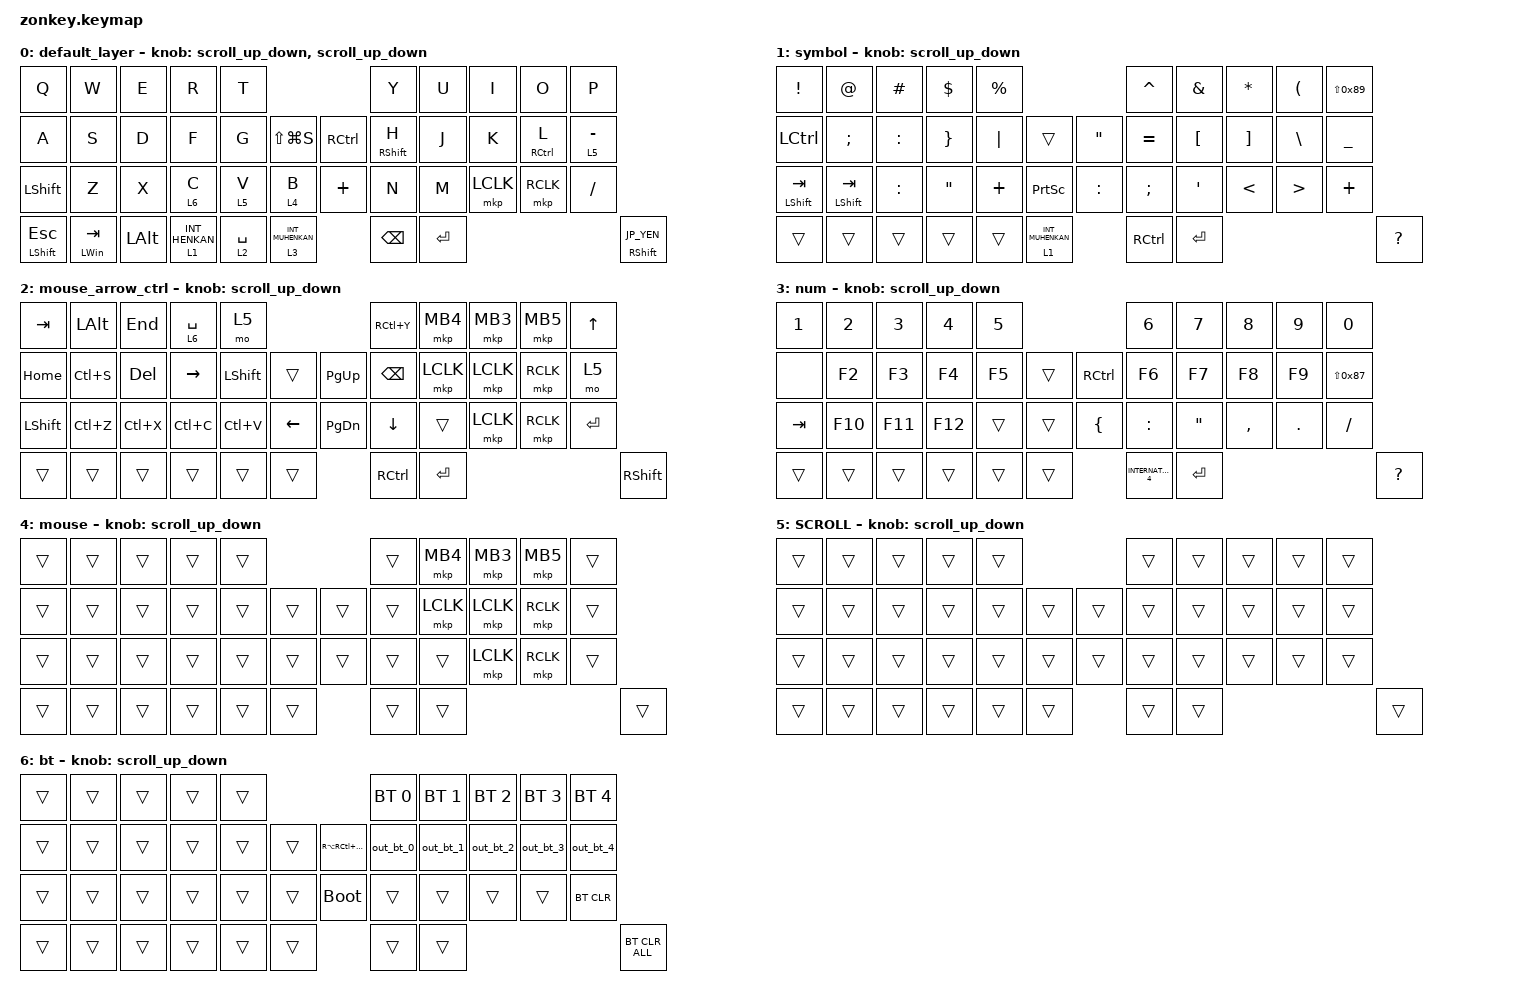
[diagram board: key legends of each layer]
#include <behaviors.dtsi>
#include <dt-bindings/zmk/bt.h>
#include <dt-bindings/zmk/keys.h>
#include <dt-bindings/zmk/outputs.h>
#include <dt-bindings/zmk/pointing.h>

#define ZMK_POINTING_DEFAULT_SCRL_VAL 100

//#define MOUSE 6

#define JP_DQUOTE       AT                // "
#define JP_AMPERSAND    CARET             // &
#define JP_QUOTE        AMPERSAND         // '
#define JP_EQUAL        UNDER             // =
#define JP_CARET        EQUAL             // ^
#define JP_YEN          0x89              // ¥
#define JP_PLUS         COLON             // +
#define JP_TILDE        PLUS              // ~
#define JP_PIPE         LS(0x89)          // |
#define JP_AT           LEFT_BRACKET      // @
#define JP_COLON        SINGLE_QUOTE      // :
#define JP_ASTERISK     DOUBLE_QUOTES     // *
#define JP_BACKQUOTE    LEFT_BRACE        // `
#define JP_UNDERSCORE   LS(0x87)          // _
#define JP_LBRACKET     RIGHT_BRACKET     // [
#define JP_RBRACKET     BACKSLASH         // ]
#define JP_LPAREN       ASTERISK          // (
#define JP_RPAREN       LEFT_PARENTHESIS  // )
#define JP_LBRACE       RIGHT_BRACE       // {
#define JP_RBRACE       PIPE              // }
#define JP_KANA         LANGUAGE_1        // かな
#define JP_EISU         LANGUAGE_2        // 英数
#define JP_HANZEN       GRAVE             // 半角/全角
#define JP_BSLH  INT1         // (backslash)

// レイヤーの定義

#define DEFAULT 0
#define SYMBOL	1
#define MOUSE_CTRL	2
#define NUM_FUNCTION	3
#define MOUSE	4
#define SCROLL	5
#define MODIFIER_BT	6

&mt {
    flavor = "balanced";
    quick-tap-ms = <0>;
};

/ {
    combos {
        compatible = "zmk,combos";

        tab {
            bindings = <&kp TAB>;
            key-positions = <11 12>;
        };

        shift_tab {
            bindings = <&kp LS(TAB)>;
            key-positions = <12 13>;
        };

        mb4 {
            bindings = <&mkp MB4>;
            key-positions = <6 7>;
        };

        mb5 {
            bindings = <&mkp MB5>;
            key-positions = <7 8>;
        };

        semicolon {
            bindings = <&kp SEMICOLON>;
            key-positions = <18 19>;
        };

        colon {
            bindings = <&kp JP_COLON>;
            key-positions = <19 20>;
        };

        underscore {
            bindings = <&kp JP_UNDERSCORE>;
            key-positions = <20 21>;
        };

        comma {
            bindings = <&kp COMMA>;
            key-positions = <30 31>;
        };

        dot {
            bindings = <&kp DOT>;
            key-positions = <31 32>;
        };

        asterisk {
            bindings = <&kp JP_ASTERISK>;
            key-positions = <17 18>;
        };

        plus {
            bindings = <&kp JP_PLUS>;
            key-positions = <29 30>;
        };

        mb3 {
            bindings = <&mkp MCLK>;
            key-positions = <6 8 7>;
        };

        lctrl {
            bindings = <&kp LCTRL>;
            key-positions = <10 11>;
        };

        esc {
            bindings = <&kp ESCAPE>;
            key-positions = <0 1>;
        };
    };

    mo2: mo2 {
        compatible = "zmk,behavior-mod-morph";
        #binding-cells = <0>;
        bindings = <&kp N2>, <&kp AT>;

        mods = <(MOD_LSFT|MOD_RSFT)>;
    };

    mo6: mo6 {
        compatible = "zmk,behavior-mod-morph";
        #binding-cells = <0>;
        bindings = <&kp N6>, <&kp JP_CARET>;

        mods = <(MOD_LSFT|MOD_RSFT)>;
    };

    mo7: mo7 {
        compatible = "zmk,behavior-mod-morph";
        #binding-cells = <0>;
        bindings = <&kp N7>, <&kp JP_AMPERSAND>;

        mods = <(MOD_LSFT|MOD_RSFT)>;
    };

    mo8: mo8 {
        compatible = "zmk,behavior-mod-morph";
        #binding-cells = <0>;
        bindings = <&kp N8>, <&kp JP_ASTERISK>;

        mods = <(MOD_LSFT|MOD_RSFT)>;
    };

    mo9: mo9 {
        compatible = "zmk,behavior-mod-morph";
        #binding-cells = <0>;
        bindings = <&kp N9>, <&kp LPAR>;

        mods = <(MOD_LSFT|MOD_RSFT)>;
    };

    mo0: mo0 {
        compatible = "zmk,behavior-mod-morph";
        #binding-cells = <0>;
        bindings = <&kp N0>, <&kp LS(N9)>;

        mods = <(MOD_LSFT|MOD_RSFT)>;
    };

    moA: moA {
        compatible = "zmk,behavior-mod-morph";
        #binding-cells = <0>;
        bindings = <&kp MINUS>, <&kp JP_UNDERSCORE>;

        mods = <(MOD_LSFT|MOD_RSFT)>;
    };

    moB: moB {
        compatible = "zmk,behavior-mod-morph";
        #binding-cells = <0>;
        bindings = <&kp JP_EQUAL>, <&kp JP_PLUS>;

        mods = <(MOD_LSFT|MOD_RSFT)>;
    };

    moC: moC {
        compatible = "zmk,behavior-mod-morph";
        #binding-cells = <0>;
        bindings = <&kp INT3>, <&kp JP_PIPE>;

        mods = <(MOD_LSFT|MOD_RSFT)>;
    };

    moD: moD {
        compatible = "zmk,behavior-mod-morph";
        #binding-cells = <0>;
        bindings = <&kp LBKT>, <&kp LBRC>;

        mods = <(MOD_LSFT|MOD_RSFT)>;
    };

    moE: moE {
        compatible = "zmk,behavior-mod-morph";
        #binding-cells = <0>;
        bindings = <&kp JP_RBRACKET>, <&kp JP_RBRACE>;

        mods = <(MOD_LSFT|MOD_RSFT)>;
    };

    moF: moF {
        compatible = "zmk,behavior-mod-morph";
        #binding-cells = <0>;
        bindings = <&kp SEMI>, <&kp JP_PLUS>;

        mods = <(MOD_LSFT|MOD_RSFT)>;
    };

    moG: moG {
        compatible = "zmk,behavior-mod-morph";
        #binding-cells = <0>;
        bindings = <&kp APOSTROPHE>, <&kp DQT>;

        mods = <(MOD_LSFT|MOD_RSFT)>;
    };

    moH: moH {
        compatible = "zmk,behavior-mod-morph";
        #binding-cells = <0>;
        bindings = <&kp JP_BSLH>, <&kp JP_TILDE>;

        mods = <(MOD_LSFT|MOD_RSFT)>;
    };

    moI: moI {
        compatible = "zmk,behavior-mod-morph";
        #binding-cells = <0>;
        bindings = <&kp JP_BSLH>, <&kp JP_UNDERSCORE>;

        mods = <(MOD_LSFT|MOD_RSFT)>;
    };

    macros {
        to_layer_0: to_layer_0 {
            compatible = "zmk,behavior-macro-one-param";
            #binding-cells = <1>;
            bindings = <&to 0 &macro_param_1to1 &kp MACRO_PLACEHOLDER>;
            label = "TO_LAYER_0";
        };

        // Select specific BT device (0-4) and disconnect others

        out_bt_0: out_bt_0 {
            compatible = "zmk,behavior-macro";
            #binding-cells = <0>;
            wait-ms = <50>;
            bindings = <&out OUT_BLE &bt BT_SEL 0 &bt BT_DISC 1 &bt BT_DISC 2 &bt BT_DISC 3 &bt BT_DISC 4>;
        };

        out_bt_1: out_bt_1 {
            compatible = "zmk,behavior-macro";
            #binding-cells = <0>;
            wait-ms = <50>;
            bindings = <&out OUT_BLE &bt BT_SEL 1 &bt BT_DISC 0 &bt BT_DISC 2 &bt BT_DISC 3 &bt BT_DISC 4>;
        };

        out_bt_2: out_bt_2 {
            compatible = "zmk,behavior-macro";
            #binding-cells = <0>;
            wait-ms = <50>;
            bindings = <&out OUT_BLE &bt BT_SEL 2 &bt BT_DISC 0 &bt BT_DISC 1 &bt BT_DISC 3 &bt BT_DISC 4>;
        };

        out_bt_3: out_bt_3 {
            compatible = "zmk,behavior-macro";
            #binding-cells = <0>;
            wait-ms = <50>;
            bindings = <&out OUT_BLE &bt BT_SEL 3 &bt BT_DISC 0 &bt BT_DISC 1 &bt BT_DISC 2 &bt BT_DISC 4>;
        };

        out_bt_4: out_bt_4 {
            compatible = "zmk,behavior-macro";
            #binding-cells = <0>;
            wait-ms = <50>;
            bindings = <&out OUT_BLE &bt BT_SEL 4 &bt BT_DISC 0 &bt BT_DISC 1 &bt BT_DISC 2 &bt BT_DISC 3>;
        };
    };

    behaviors {
        lt_to_layer_0: lt_to_layer_0 {
            compatible = "zmk,behavior-hold-tap";
            label = "LAYER_TAP_TO_0";
            bindings = <&mo>, <&to_layer_0>;

            #binding-cells = <2>;
            tapping-term-ms = <200>;
        };

        scroll_up_down: behavior_sensor_rotate_mouse_wheel_up_down {
            compatible = "zmk,behavior-sensor-rotate";
            #sensor-binding-cells = <0>;
            bindings = <&msc SCRL_DOWN>, <&msc SCRL_UP>;

            tap-ms = <20>;
        };

        mouse_scroll: mouse_wheel_scrl {
            compatible = "zmk,behavior-sensor-rotate-var";
            #sensor-binding-cells = <2>;
            bindings = <&msc>, <&msc>;

            // 追加: スクロールのタップ時間を設定 (20ms)

            tap-ms = <20>;
        };

        long_hold_mod_tap: long_hold_mod_tap {
            compatible = "zmk,behavior-hold-tap";
            label = "LONG_HOLD_MOD_TAP";
            bindings = <&kp>, <&kp>;

            #binding-cells = <2>;
            tapping-term-ms = <350>;
            quick-tap-ms = <0>;
            require-prior-idle-ms = <0>;
            flavor = "tap-preferred";
        };

        medium_hold_mod_tap: medium_hold_mod_tap {
            compatible = "zmk,behavior-hold-tap";
            label = "MEDIUM_HOLD_MOD_TAP";
            bindings = <&kp>, <&kp>;

            #binding-cells = <2>;
            tapping-term-ms = <250>;
            flavor = "balanced";
        };
    };

    keymap {
        compatible = "zmk,keymap";

        default_layer {
            // -----------------------------------------------------------------------------------------
            // |  Q  |  W  |  E  |  R  |  T  |                        |  Y  |  U   |  I  |  O  |  P  | 
            // |  A  |  S  |  D  |  F  |  G  |LS(LG(S))|        　 | ` |  H  |  J   |  K  |  L  |  -  | 
            // |SHIFT|  Z  |  X  |  C  |  V  |  B  |           | ; |  N  |  M   |  ,  |  .  |  /  | 
            // | CTRL | WIN | ALT |HENKAN|SPACE|MUHENKAN|       | BS | ENT |      　　　　       | DEL |           

            bindings = <
&kp Q               &kp W             &kp E         &kp R             &kp T                                            &kp Y              &kp U      &kp I      &kp O        &kp P
&kp A               &kp S             &kp D         &kp F             &kp G        &kp LS(LG(S))         &kp RCTRL     &mt RIGHT_SHIFT H  &kp J      &kp K      &mt RCTRL L  &lt 5 MINUS
&kp LEFT_SHIFT      &kp Z             &kp X         &lt 6 C           &lt 5 V      &lt 4 B               &kp JP_TILDE  &kp N              &kp M      &mkp LCLK  &mkp RCLK    &kp SLASH
&mt LEFT_SHIFT ESC  &mt LEFT_WIN TAB  &kp LEFT_ALT  &lt 1 INT_HENKAN  &lt 2 SPACE  &lt 3 INT_MUHENKAN                  &kp BACKSPACE      &kp ENTER                                       &mt RIGHT_SHIFT JP_YEN
            >;

            sensor-bindings = <&scroll_up_down>, <&scroll_up_down>;
        };

        symbol {
            // -----------------------------------------------------------------------------------------
            // | 半角/全角 |CAPS|     |     |     |                     |     |     |  -  |  ^  |  ¥  |
            // | TAB |     |     |     |     |     |              |    |     |     |     |  @  |  [  |
            // |SHIFT|     |     |     |     |     |            | 英数 | かな |     |     |     |  ]  |
            // | CTRL| WIN | ALT |HENKAN|SPACE|MUHENKAN|         | BS | ENT |                   | DEL |

            bindings = <
&kp EXCLAMATION     &kp JP_DQUOTE       &kp HASH     &kp DOLLAR       &kp PERCENT                                           &kp JP_AMPERSAND  &kp JP_QUOTE  &kp JP_LPAREN    &kp JP_RPAREN     &kp JP_PIPE
&kp LCTRL           &kp SEMICOLON       &kp COLON    &kp JP_LBRACE    &kp JP_RBRACE  &trans                &kp JP_ASTERISK  &kp JP_CARET      &kp JP_AT     &kp JP_LBRACKET  &kp JP_RBRACKET   &kp JP_EQUAL
&mt LEFT_SHIFT TAB  &mt LEFT_SHIFT TAB  &kp JP_PLUS  &kp JP_ASTERISK  &kp JP_TILDE   &kp PRINTSCREEN       &kp JP_PLUS      &kp SEMICOLON     &kp JP_COLON  &kp LESS_THAN    &kp GREATER_THAN  &kp JP_TILDE
&trans              &trans              &trans       &trans           &trans         &lt 1 INT_MUHENKAN                     &kp RCTRL         &kp ENTER                                                      &kp QUESTION
            >;

            sensor-bindings = <&scroll_up_down>;
        };

        mouse_arrow_ctrl {
            // -----------------------------------------------------------------------------------------
            // |  1  |  2  |  3  |  4  |  5  |                     |  6  |  7  |  8  |  9  |   0  |
            // |      |     |     |     |     |     |           |    |     |     |     |  ↑  |      |
            // |SHIFT|     |     |     |     |     |           |     |     |     |  ←  |  ↓  |  →  |
            // | CTRL| WIN | ALT |HENKAN|SPACE|MUHENKAN|         | BS | ENT |                   | DEL |

            bindings = <
&kp TAB         &kp LEFT_ALT  &kp END    &lt 6 SPACE      &mo 5                                            &kp RC(Y)       &mkp MB4   &mkp MB3   &mkp MB5   &kp UP_ARROW
&kp HOME        &kp LC(S)     &kp DEL    &kp RIGHT_ARROW  &kp LEFT_SHIFT  &trans            &kp PAGE_UP    &kp BACKSPACE   &mkp LCLK  &mkp LCLK  &mkp RCLK  &mo 5
&kp LEFT_SHIFT  &kp LC(Z)     &kp LC(X)  &kp LC(C)        &kp LC(V)       &kp LEFT_ARROW    &kp PAGE_DOWN  &kp DOWN_ARROW  &trans     &mkp LCLK  &mkp RCLK  &kp ENTER
&trans          &trans        &trans     &trans           &trans          &trans                           &kp RCTRL       &kp ENTER                                      &kp RIGHT_SHIFT
            >;

            sensor-bindings = <&scroll_up_down>;
        };

        num {
            // -----------------------------------------------------------------------------------------
            // | F1  | F2  | F3  | F4  | F5  |                     | F6  | F7 | F8  | F9 | F10 |
            // | F11 | F12 |     |     |     |     |           |    |     |     |     |     |      |
            // |SHIFT|     |     |     |     |     |           |     |     |     |     |     |      |
            // | CTRL| WIN | ALT |HENKAN|SPACE|MUHENKAN|         | BS | ENT |                   | DEL |

            bindings = <
&kp NUMBER_1  &kp NUMBER_2  &kp NUMBER_3  &kp NUMBER_4  &kp NUMBER_5                              &kp NUMBER_6         &kp NUMBER_7     &kp NUMBER_8  &kp NUMBER_9  &kp NUMBER_0
&none         &kp F2        &kp F3        &kp F4        &kp F5        &trans    &kp RCTRL         &kp F6               &kp F7           &kp F8        &kp F9        &kp JP_UNDERSCORE
&kp TAB       &kp F10       &kp F11       &kp F12       &trans        &trans    &kp JP_BACKQUOTE  &kp JP_PLUS          &kp JP_ASTERISK  &kp COMMA     &kp PERIOD    &kp SLASH
&trans        &trans        &trans        &trans        &trans        &trans                      &kp INTERNATIONAL_4  &kp ENTER                                                       &kp QUESTION
            >;

            sensor-bindings = <&scroll_up_down>;
        };

        mouse {
            // -----------------------------------------------------------------------------------------
            // | BT0 | BT1 | BT2 | BT3 | BT4 |                |  -  |  7  |  8  |  9  |  +  |
            // |BTCLR |     |     |     |     |     |           |  /  |  4  |  5  |  6  |  *  | 
            // |SHIFT|     |     |     |     |     |           |  0  |  1  |  2  |   3 |  .  |  =  |
            // | CTRL| WIN | ALT |HENKAN|SPACE|MUHENKAN|        | BS | ENT |                  | DEL |

            bindings = <
&trans  &trans  &trans  &trans  &trans                    &trans  &mkp MB4   &mkp MB3   &mkp MB5   &trans
&trans  &trans  &trans  &trans  &trans  &trans    &trans  &trans  &mkp LCLK  &mkp LCLK  &mkp RCLK  &trans
&trans  &trans  &trans  &trans  &trans  &trans    &trans  &trans  &trans     &mkp LCLK  &mkp RCLK  &trans
&trans  &trans  &trans  &trans  &trans  &trans            &trans  &trans                                   &trans
            >;

            sensor-bindings = <&scroll_up_down>;
        };

        SCROLL {
            // -----------------------------------------------------------------------------------------
            // |      |     |     |     |     |                     |     |     |     |     |      |
            // |      |     |     |     |     |     |           |    |     |     |     |     |      |
            // |SHIFT|     |     |     |     |     |          |     |     |     |     |     |      |
            // | CTRL| WIN | ALT |HENKAN|SPACE|MUHENKAN|        | BS | ENT |                  | DEL |

            bindings = <
&trans  &trans  &trans  &trans  &trans                    &trans  &trans  &trans  &trans  &trans
&trans  &trans  &trans  &trans  &trans  &trans    &trans  &trans  &trans  &trans  &trans  &trans
&trans  &trans  &trans  &trans  &trans  &trans    &trans  &trans  &trans  &trans  &trans  &trans
&trans  &trans  &trans  &trans  &trans  &trans            &trans  &trans                          &trans
            >;

            sensor-bindings = <&scroll_up_down>;
        };

        bt {
            bindings = <
&trans  &trans  &trans  &trans  &trans                             &bt BT_SEL 0  &bt BT_SEL 1  &bt BT_SEL 2  &bt BT_SEL 3  &bt BT_SEL 4
&trans  &trans  &trans  &trans  &trans  &trans    &kp RA(RC(DEL))  &out_bt_0     &out_bt_1     &out_bt_2     &out_bt_3     &out_bt_4
&trans  &trans  &trans  &trans  &trans  &trans    &bootloader      &trans        &trans        &trans        &trans        &bt BT_CLR
&trans  &trans  &trans  &trans  &trans  &trans                     &trans        &trans                                                  &bt BT_CLR_ALL
            >;

            sensor-bindings = <&scroll_up_down>;
        };
    };
};
